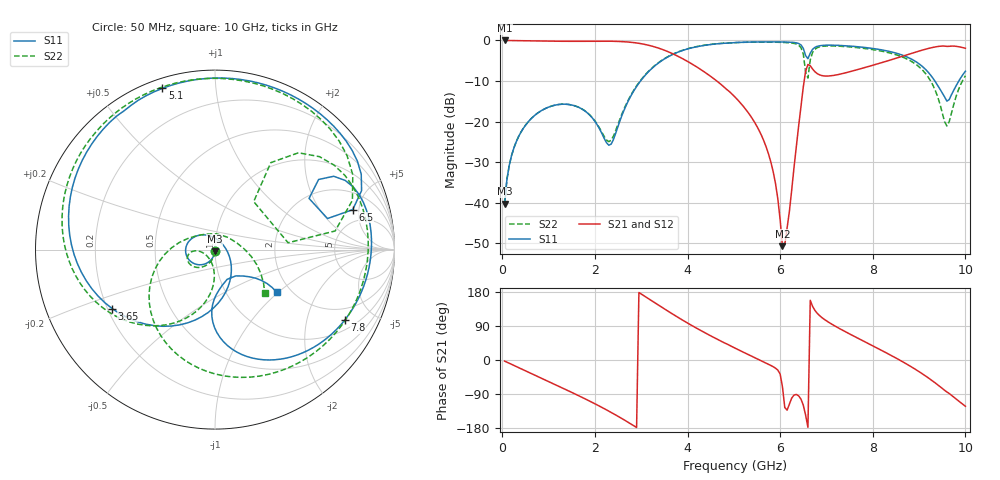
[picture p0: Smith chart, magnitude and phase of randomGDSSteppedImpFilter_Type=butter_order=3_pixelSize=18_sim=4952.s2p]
! freq	dB(S11)	phase(S11)	dB(S12)	phase(S12)
!  dB(S21)	phase(S21)	dB(S22)	phase(S22)
!S-par simulation data
#  GHz  S  DB  R 50
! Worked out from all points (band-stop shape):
!   200 points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, 50 MHz to 10 GHz, reference 50 ohm
!   highest |S21| = 0.00 dB at 50 MHz (marker M1); lowest = -50.7 dB at 6.05 GHz (marker M2)
!   |S21| within 3 dB of the highest: start of sweep to 3.626 GHz; 8.888 GHz to end of sweep
!   lowest |S11| = -40.2 dB at 50 MHz (marker M3), VSWR 1.02, Z = 49.9 - j0.971 ohm
!   |S11| at or under -10 dB: start of sweep to 2.984 GHz; 9.341 GHz to 9.857 GHz (516.3 MHz wide, 5.38 % of centre)
!   |S22| runs from -40.2 to -0.4 dB; largest |S21 - S12| = 0
!   S11 on the Smith chart (normalised r, x): 50 MHz: 1.00, -0.02; 3.65 GHz: 0.22, -0.25; 5.1 GHz: 0.04, +0.73; 6.5 GHz: 3.49, +4.29; 7.8 GHz: 1.41, -3.41; 10 GHz: 1.69, -0.97
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0.05  -40.23 -93.2  -0.00 -2.9  -0.00 -2.9  -40.20 -92.6
0.2  -28.35 -102.8  -0.02 -11.5  -0.02 -11.5  -28.35 -100.4
0.55  -20.18 -125.3  -0.08 -31.4  -0.08 -31.4  -20.17 -118.5
1.75  -17.10 151.8  -0.21 -100.2  -0.21 -100.2  -17.08 -172.8
2.35  -25.54 26.3  -0.20 -138.3  -0.20 -138.3  -24.59 -124.6
2.9  -11.34 -81.3  -0.62 -178.1  -0.62 -178.1  -11.19 -98.6
3.4  -5.31 -128.6  -1.99 142.7  -1.99 142.7  -5.24 -129.1
3.65  -3.60 -150.1  -3.12 123.3  -3.12 123.3  -3.55 -146.1
4.3  -1.33 159.9  -7.27 76.9  -7.27 76.9  -1.30 171.5
5.05  -0.52 111.1  -14.23 29.9  -14.23 29.9  -0.52 126.5
5.1  -0.49 108.0  -14.84 26.9  -14.84 26.9  -0.50 123.6
5.75  -0.36 69.8  -28.00 -11.5  -28.00 -11.5  -0.41 83.5
6.05  -0.38 52.2  -50.67 -71.0  -50.67 -71.0  -0.48 62.8
6.5  -1.95 16.2  -11.43 -119.3  -11.43 -119.3  -3.38 8.8
6.6  -4.49 28.5  -5.92 -177.6  -5.92 -177.6  -9.28 51.1
6.7  -2.19 31.7  -7.03 141.6  -7.03 141.6  -2.95 49.3
7.15  -1.17 3.6  -8.63 92.0  -8.63 92.0  -1.36 3.4
7.8  -1.69 -28.4  -6.77 49.9  -6.77 49.9  -1.94 -45.1
8.35  -2.68 -54.3  -4.93 15.1  -4.93 15.1  -3.03 -85.9
9.05  -6.21 -86.8  -2.44 -34.7  -2.44 -34.7  -7.04 -145.7
9.6  -14.95 -67.7  -1.46 -84.4  -1.46 -84.4  -21.07 83.8
10  -7.59 -34.6  -1.93 -122.1  -1.93 -122.1  -8.69 -41.1
